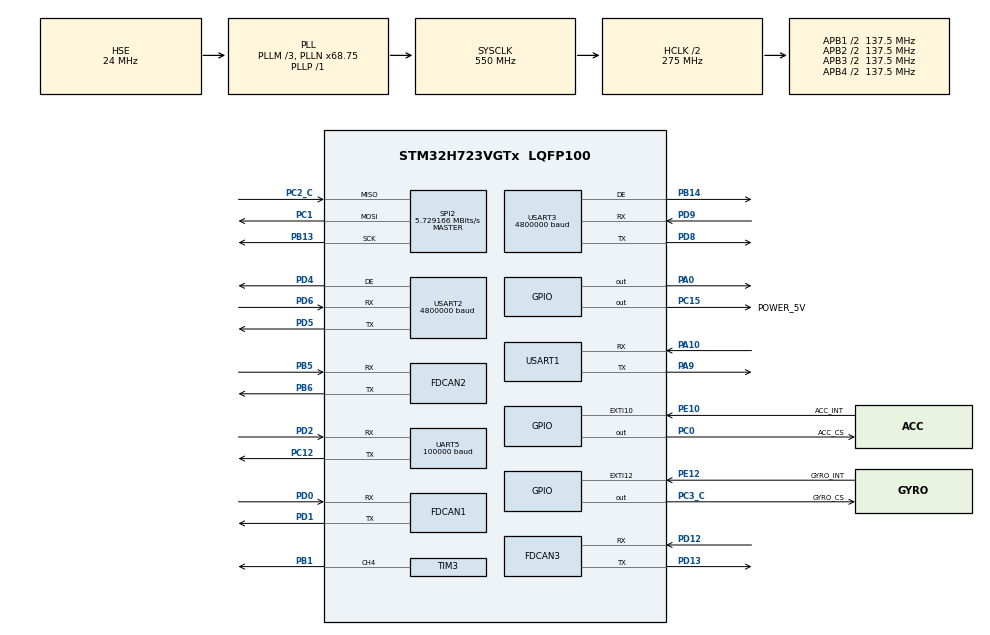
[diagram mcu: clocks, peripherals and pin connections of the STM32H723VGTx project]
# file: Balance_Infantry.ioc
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CORTEX_M7.AccessPermission-Cortex_Memory_Protection_Unit_Region0_Settings=MPU_REGION_FULL_ACCESS
CORTEX_M7.BaseAddress-Cortex_Memory_Protection_Unit_Region0_Settings=0x24000000
CORTEX_M7.CPU_DCache=Enabled
CORTEX_M7.CPU_ICache=Enabled
CORTEX_M7.Enable-Cortex_Memory_Protection_Unit_Region0_Settings=MPU_REGION_ENABLE
CORTEX_M7.IsBufferable-Cortex_Memory_Protection_Unit_Region0_Settings=MPU_ACCESS_BUFFERABLE
CORTEX_M7.IsCacheable-Cortex_Memory_Protection_Unit_Region0_Settings=MPU_ACCESS_CACHEABLE
CORTEX_M7.MPU_Control=MPU_PRIVILEGED_DEFAULT
CORTEX_M7.Size-Cortex_Memory_Protection_Unit_Region0_Settings=MPU_REGION_SIZE_512KB
CORTEX_M7.TypeExtField-Cortex_Memory_Protection_Unit_Region0_Settings=MPU_TEX_LEVEL0
Dma.Request0=SPI2_RX
Dma.Request1=SPI2_TX
Dma.Request2=USART2_RX
Dma.Request3=USART2_TX
Dma.Request4=USART3_RX
Dma.Request5=USART3_TX
Dma.Request6=UART5_RX
Dma.Request7=USART1_TX
Dma.Request8=USART1_RX
Dma.SPI2_RX.0.Direction=DMA_PERIPH_TO_MEMORY
Dma.SPI2_RX.0.EventEnable=DISABLE
Dma.SPI2_RX.0.FIFOMode=DMA_FIFOMODE_DISABLE
Dma.SPI2_RX.0.Instance=DMA1_Stream0
Dma.SPI2_RX.0.MemDataAlignment=DMA_MDATAALIGN_BYTE
Dma.SPI2_RX.0.MemInc=DMA_MINC_ENABLE
Dma.SPI2_RX.0.Mode=DMA_NORMAL
Dma.SPI2_RX.0.PeriphDataAlignment=DMA_PDATAALIGN_BYTE
Dma.SPI2_RX.0.PeriphInc=DMA_PINC_DISABLE
Dma.SPI2_RX.0.Polarity=HAL_DMAMUX_REQ_GEN_RISING
Dma.SPI2_RX.0.Priority=DMA_PRIORITY_VERY_HIGH
Dma.SPI2_RX.0.RequestNumber=1
Dma.SPI2_RX.0.SignalID=NONE
Dma.SPI2_RX.0.SyncEnable=DISABLE
Dma.SPI2_RX.0.SyncPolarity=HAL_DMAMUX_SYNC_NO_EVENT
Dma.SPI2_RX.0.SyncRequestNumber=1
Dma.SPI2_RX.0.SyncSignalID=NONE
Dma.SPI2_TX.1.Direction=DMA_MEMORY_TO_PERIPH
Dma.SPI2_TX.1.EventEnable=DISABLE
Dma.SPI2_TX.1.FIFOMode=DMA_FIFOMODE_DISABLE
Dma.SPI2_TX.1.Instance=DMA1_Stream1
Dma.SPI2_TX.1.MemDataAlignment=DMA_MDATAALIGN_BYTE
Dma.SPI2_TX.1.MemInc=DMA_MINC_ENABLE
Dma.SPI2_TX.1.Mode=DMA_NORMAL
Dma.SPI2_TX.1.PeriphDataAlignment=DMA_PDATAALIGN_BYTE
Dma.SPI2_TX.1.PeriphInc=DMA_PINC_DISABLE
Dma.SPI2_TX.1.Polarity=HAL_DMAMUX_REQ_GEN_RISING
Dma.SPI2_TX.1.Priority=DMA_PRIORITY_HIGH
Dma.SPI2_TX.1.RequestNumber=1
Dma.SPI2_TX.1.SignalID=NONE
Dma.SPI2_TX.1.SyncEnable=DISABLE
Dma.SPI2_TX.1.SyncPolarity=HAL_DMAMUX_SYNC_NO_EVENT
Dma.SPI2_TX.1.SyncRequestNumber=1
Dma.SPI2_TX.1.SyncSignalID=NONE
Dma.UART5_RX.6.Direction=DMA_PERIPH_TO_MEMORY
Dma.UART5_RX.6.EventEnable=DISABLE
Dma.UART5_RX.6.FIFOMode=DMA_FIFOMODE_DISABLE
Dma.UART5_RX.6.Instance=DMA1_Stream6
Dma.UART5_RX.6.MemDataAlignment=DMA_MDATAALIGN_BYTE
Dma.UART5_RX.6.MemInc=DMA_MINC_ENABLE
Dma.UART5_RX.6.Mode=DMA_NORMAL
Dma.UART5_RX.6.PeriphDataAlignment=DMA_PDATAALIGN_BYTE
Dma.UART5_RX.6.PeriphInc=DMA_PINC_DISABLE
Dma.UART5_RX.6.Polarity=HAL_DMAMUX_REQ_GEN_RISING
Dma.UART5_RX.6.Priority=DMA_PRIORITY_HIGH
Dma.UART5_RX.6.RequestNumber=1
Dma.UART5_RX.6.SignalID=NONE
Dma.UART5_RX.6.SyncEnable=DISABLE
Dma.UART5_RX.6.SyncPolarity=HAL_DMAMUX_SYNC_NO_EVENT
Dma.UART5_RX.6.SyncRequestNumber=1
Dma.UART5_RX.6.SyncSignalID=NONE
Dma.USART1_RX.8.Direction=DMA_PERIPH_TO_MEMORY
Dma.USART1_RX.8.EventEnable=DISABLE
Dma.USART1_RX.8.FIFOMode=DMA_FIFOMODE_DISABLE
Dma.USART1_RX.8.Instance=DMA2_Stream0
Dma.USART1_RX.8.MemDataAlignment=DMA_MDATAALIGN_BYTE
Dma.USART1_RX.8.MemInc=DMA_MINC_ENABLE
Dma.USART1_RX.8.Mode=DMA_NORMAL
Dma.USART1_RX.8.PeriphDataAlignment=DMA_PDATAALIGN_BYTE
Dma.USART1_RX.8.PeriphInc=DMA_PINC_DISABLE
Dma.USART1_RX.8.Polarity=HAL_DMAMUX_REQ_GEN_RISING
Dma.USART1_RX.8.Priority=DMA_PRIORITY_LOW
Dma.USART1_RX.8.RequestNumber=1
Dma.USART1_RX.8.SignalID=NONE
Dma.USART1_RX.8.SyncEnable=DISABLE
Dma.USART1_RX.8.SyncPolarity=HAL_DMAMUX_SYNC_NO_EVENT
Dma.USART1_RX.8.SyncRequestNumber=1
Dma.USART1_RX.8.SyncSignalID=NONE
Dma.USART1_TX.7.Direction=DMA_MEMORY_TO_PERIPH
Dma.USART1_TX.7.EventEnable=DISABLE
Dma.USART1_TX.7.FIFOMode=DMA_FIFOMODE_DISABLE
Dma.USART1_TX.7.Instance=DMA1_Stream7
Dma.USART1_TX.7.MemDataAlignment=DMA_MDATAALIGN_BYTE
Dma.USART1_TX.7.MemInc=DMA_MINC_ENABLE
Dma.USART1_TX.7.Mode=DMA_NORMAL
Dma.USART1_TX.7.PeriphDataAlignment=DMA_PDATAALIGN_BYTE
Dma.USART1_TX.7.PeriphInc=DMA_PINC_DISABLE
Dma.USART1_TX.7.Polarity=HAL_DMAMUX_REQ_GEN_RISING
Dma.USART1_TX.7.Priority=DMA_PRIORITY_LOW
Dma.USART1_TX.7.RequestNumber=1
Dma.USART1_TX.7.SignalID=NONE
Dma.USART1_TX.7.SyncEnable=DISABLE
Dma.USART1_TX.7.SyncPolarity=HAL_DMAMUX_SYNC_NO_EVENT
Dma.USART1_TX.7.SyncRequestNumber=1
Dma.USART1_TX.7.SyncSignalID=NONE
Dma.USART2_RX.2.Direction=DMA_PERIPH_TO_MEMORY
Dma.USART2_RX.2.EventEnable=DISABLE
Dma.USART2_RX.2.FIFOMode=DMA_FIFOMODE_DISABLE
Dma.USART2_RX.2.Instance=DMA1_Stream2
Dma.USART2_RX.2.MemDataAlignment=DMA_MDATAALIGN_BYTE
Dma.USART2_RX.2.MemInc=DMA_MINC_ENABLE
Dma.USART2_RX.2.Mode=DMA_NORMAL
Dma.USART2_RX.2.PeriphDataAlignment=DMA_PDATAALIGN_BYTE
Dma.USART2_RX.2.PeriphInc=DMA_PINC_DISABLE
Dma.USART2_RX.2.Polarity=HAL_DMAMUX_REQ_GEN_RISING
Dma.USART2_RX.2.Priority=DMA_PRIORITY_LOW
Dma.USART2_RX.2.RequestNumber=1
Dma.USART2_RX.2.SignalID=NONE
Dma.USART2_RX.2.SyncEnable=DISABLE
Dma.USART2_RX.2.SyncPolarity=HAL_DMAMUX_SYNC_NO_EVENT
Dma.USART2_RX.2.SyncRequestNumber=1
Dma.USART2_RX.2.SyncSignalID=NONE
Dma.USART2_TX.3.Direction=DMA_MEMORY_TO_PERIPH
Dma.USART2_TX.3.EventEnable=DISABLE
Dma.USART2_TX.3.FIFOMode=DMA_FIFOMODE_DISABLE
Dma.USART2_TX.3.Instance=DMA1_Stream3
Dma.USART2_TX.3.MemDataAlignment=DMA_MDATAALIGN_BYTE
Dma.USART2_TX.3.MemInc=DMA_MINC_ENABLE
Dma.USART2_TX.3.Mode=DMA_NORMAL
Dma.USART2_TX.3.PeriphDataAlignment=DMA_PDATAALIGN_BYTE
Dma.USART2_TX.3.PeriphInc=DMA_PINC_DISABLE
Dma.USART2_TX.3.Polarity=HAL_DMAMUX_REQ_GEN_RISING
Dma.USART2_TX.3.Priority=DMA_PRIORITY_LOW
Dma.USART2_TX.3.RequestNumber=1
Dma.USART2_TX.3.SignalID=NONE
Dma.USART2_TX.3.SyncEnable=DISABLE
Dma.USART2_TX.3.SyncPolarity=HAL_DMAMUX_SYNC_NO_EVENT
Dma.USART2_TX.3.SyncRequestNumber=1
Dma.USART2_TX.3.SyncSignalID=NONE
Dma.USART3_RX.4.Direction=DMA_PERIPH_TO_MEMORY
Dma.USART3_RX.4.EventEnable=DISABLE
Dma.USART3_RX.4.FIFOMode=DMA_FIFOMODE_DISABLE
Dma.USART3_RX.4.Instance=DMA1_Stream4
Dma.USART3_RX.4.MemDataAlignment=DMA_MDATAALIGN_BYTE
Dma.USART3_RX.4.MemInc=DMA_MINC_ENABLE
Dma.USART3_RX.4.Mode=DMA_NORMAL
Dma.USART3_RX.4.PeriphDataAlignment=DMA_PDATAALIGN_BYTE
Dma.USART3_RX.4.PeriphInc=DMA_PINC_DISABLE
Dma.USART3_RX.4.Polarity=HAL_DMAMUX_REQ_GEN_RISING
Dma.USART3_RX.4.Priority=DMA_PRIORITY_LOW
Dma.USART3_RX.4.RequestNumber=1
Dma.USART3_RX.4.SignalID=NONE
Dma.USART3_RX.4.SyncEnable=DISABLE
Dma.USART3_RX.4.SyncPolarity=HAL_DMAMUX_SYNC_NO_EVENT
Dma.USART3_RX.4.SyncRequestNumber=1
Dma.USART3_RX.4.SyncSignalID=NONE
Dma.USART3_TX.5.Direction=DMA_MEMORY_TO_PERIPH
Dma.USART3_TX.5.EventEnable=DISABLE
Dma.USART3_TX.5.FIFOMode=DMA_FIFOMODE_DISABLE
Dma.USART3_TX.5.Instance=DMA1_Stream5
Dma.USART3_TX.5.MemDataAlignment=DMA_MDATAALIGN_BYTE
Dma.USART3_TX.5.MemInc=DMA_MINC_ENABLE
Dma.USART3_TX.5.Mode=DMA_NORMAL
Dma.USART3_TX.5.PeriphDataAlignment=DMA_PDATAALIGN_BYTE
Dma.USART3_TX.5.PeriphInc=DMA_PINC_DISABLE
Dma.USART3_TX.5.Polarity=HAL_DMAMUX_REQ_GEN_RISING
Dma.USART3_TX.5.Priority=DMA_PRIORITY_LOW
Dma.USART3_TX.5.RequestNumber=1
Dma.USART3_TX.5.SignalID=NONE
Dma.USART3_TX.5.SyncEnable=DISABLE
Dma.USART3_TX.5.SyncPolarity=HAL_DMAMUX_SYNC_NO_EVENT
Dma.USART3_TX.5.SyncRequestNumber=1
Dma.USART3_TX.5.SyncSignalID=NONE
FDCAN1.CalculateBaudRateNominal=1000000
FDCAN1.CalculateTimeBitNominal=1000
FDCAN1.CalculateTimeQuantumNominal=83.33333333333333
FDCAN1.NominalPrescaler=8
FDCAN1.NominalTimeSeg1=4
FDCAN1.NominalTimeSeg2=7
FDCAN1.RxFifo0ElmtsNbr=32
FDCAN1.TxFifoQueueElmtsNbr=16
FDCAN2.CalculateBaudRateNominal=1000000
FDCAN2.CalculateTimeBitNominal=1000
FDCAN2.CalculateTimeQuantumNominal=83.33333333333333
FDCAN2.NominalPrescaler=8
FDCAN2.NominalTimeSeg1=4
FDCAN2.NominalTimeSeg2=7
FDCAN2.RxFifo0ElmtsNbr=32
FDCAN2.TxFifoQueueElmtsNbr=16
FDCAN3.CalculateBaudRateNominal=1000000
FDCAN3.CalculateTimeBitNominal=1000
FDCAN3.CalculateTimeQuantumNominal=83.33333333333333
FDCAN3.NominalPrescaler=8
FDCAN3.NominalTimeSeg1=4
FDCAN3.NominalTimeSeg2=7
FDCAN3.RxFifo0ElmtsNbr=32
FDCAN3.TxFifoQueueElmtsNbr=16
FREERTOS.BinarySemaphores01=imuBinarySem01,Static,imuBinarySemControlBlock
FREERTOS.INCLUDE_vTaskDelayUntil=1
FREERTOS.MEMORY_ALLOCATION=2
FREERTOS.Tasks01=defaultTask,0,128,StartDefaultTask,Default,NULL,Static,defaultTaskBuffer,defaultTaskControlBlock
FREERTOS.configTOTAL_HEAP_SIZE=30720
Mcu.Family=STM32H7
Mcu.Name=STM32H723VGTx
Mcu.Package=LQFP100
NVIC.DMA1_Stream0_IRQn=true\:6\:0\:true\:false\:true\:true\:false\:true\:true
NVIC.DMA1_Stream1_IRQn=true\:6\:0\:true\:false\:true\:true\:false\:true\:true
NVIC.DMA1_Stream2_IRQn=true\:5\:0\:false\:false\:true\:true\:false\:true\:true
NVIC.DMA1_Stream3_IRQn=true\:5\:0\:false\:false\:true\:true\:false\:true\:true
NVIC.DMA1_Stream4_IRQn=true\:5\:0\:false\:false\:true\:true\:false\:true\:true
NVIC.DMA1_Stream5_IRQn=true\:5\:0\:false\:false\:true\:true\:false\:true\:true
NVIC.DMA1_Stream6_IRQn=true\:5\:0\:false\:false\:true\:true\:false\:true\:true
NVIC.DMA1_Stream7_IRQn=true\:5\:0\:false\:false\:true\:true\:false\:true\:true
NVIC.DMA2_Stream0_IRQn=true\:5\:0\:false\:false\:true\:true\:false\:true\:true
NVIC.EXTI15_10_IRQn=true\:6\:0\:true\:false\:true\:true\:true\:true\:true
NVIC.FDCAN1_IT0_IRQn=true\:5\:0\:false\:false\:true\:true\:true\:true\:true
NVIC.FDCAN1_IT1_IRQn=true\:5\:0\:false\:false\:true\:true\:true\:true\:true
NVIC.FDCAN2_IT0_IRQn=true\:5\:0\:false\:false\:true\:true\:true\:true\:true
NVIC.FDCAN2_IT1_IRQn=true\:5\:0\:false\:false\:true\:true\:true\:true\:true
NVIC.PriorityGroup=NVIC_PRIORITYGROUP_4
NVIC.SPI2_IRQn=true\:6\:0\:true\:false\:true\:true\:false\:true\:true
NVIC.TIM1_UP_IRQn=true\:15\:0\:false\:false\:true\:false\:false\:true\:true
NVIC.TimeBase=TIM1_UP_IRQn
NVIC.TimeBaseIP=TIM1
NVIC.UART5_IRQn=true\:5\:0\:false\:false\:true\:true\:true\:true\:true
NVIC.USART1_IRQn=true\:5\:0\:false\:false\:true\:true\:true\:true\:true
NVIC.USART2_IRQn=true\:5\:0\:false\:false\:true\:true\:true\:true\:true
NVIC.USART3_IRQn=true\:5\:0\:false\:false\:true\:true\:true\:true\:true
PA0.GPIO_Speed=GPIO_SPEED_FREQ_VERY_HIGH
PA0.Signal=GPIO_Output
PA10.Mode=Asynchronous
PA10.Signal=USART1_RX
PA13(JTMS/SWDIO).Mode=Serial_Wire
PA13(JTMS/SWDIO).Signal=DEBUG_JTMS-SWDIO
PA14(JTCK/SWCLK).Mode=Serial_Wire
PA14(JTCK/SWCLK).Signal=DEBUG_JTCK-SWCLK
PA9.Mode=Asynchronous
PA9.Signal=USART1_TX
PB1.Signal=S_TIM3_CH4
PB13.GPIO_Speed=GPIO_SPEED_FREQ_VERY_HIGH
PB13.Mode=Full_Duplex_Master
PB13.Signal=SPI2_SCK
PB14.GPIO_Speed=GPIO_SPEED_FREQ_VERY_HIGH
PB14.Mode=Hardware Flow Control (RS485)
PB14.Signal=USART3_DE
PB5.Mode=FDCAN_Activate
PB5.Signal=FDCAN2_RX
PB6.Mode=FDCAN_Activate
PB6.Signal=FDCAN2_TX
PC0.GPIO_Label=ACC_CS
PC0.GPIO_Speed=GPIO_SPEED_FREQ_VERY_HIGH
PC0.PinState=GPIO_PIN_SET
PC0.Signal=GPIO_Output
PC1.GPIO_Speed=GPIO_SPEED_FREQ_VERY_HIGH
PC1.Mode=Full_Duplex_Master
PC1.Signal=SPI2_MOSI
PC12.GPIO_Speed=GPIO_SPEED_FREQ_VERY_HIGH
PC12.Mode=Asynchronous
PC12.Signal=UART5_TX
PC15-OSC32_OUT.GPIO_Label=POWER_5V
PC15-OSC32_OUT.PinState=GPIO_PIN_SET
PC15-OSC32_OUT.Signal=GPIO_Output
PC2_C.GPIO_Speed=GPIO_SPEED_FREQ_VERY_HIGH
PC2_C.Mode=Full_Duplex_Master
PC2_C.Signal=SPI2_MISO
PC3_C.GPIO_Label=GYRO_CS
PC3_C.GPIO_Speed=GPIO_SPEED_FREQ_VERY_HIGH
PC3_C.PinState=GPIO_PIN_SET
PC3_C.Signal=GPIO_Output
PD0.Mode=FDCAN_Activate
PD0.Signal=FDCAN1_RX
PD1.Mode=FDCAN_Activate
PD1.Signal=FDCAN1_TX
PD12.Mode=FDCAN_Activate
PD12.Signal=FDCAN3_RX
PD13.Mode=FDCAN_Activate
PD13.Signal=FDCAN3_TX
PD2.GPIO_Speed=GPIO_SPEED_FREQ_VERY_HIGH
PD2.Mode=Asynchronous
PD2.Signal=UART5_RX
PD4.GPIO_Speed=GPIO_SPEED_FREQ_VERY_HIGH
PD4.Mode=Hardware Flow Control (RS485)
PD4.Signal=USART2_DE
PD5.GPIO_Speed=GPIO_SPEED_FREQ_VERY_HIGH
PD5.Mode=Asynchronous
PD5.Signal=USART2_TX
PD6.GPIO_Speed=GPIO_SPEED_FREQ_VERY_HIGH
PD6.Mode=Asynchronous
PD6.Signal=USART2_RX
PD8.GPIO_Speed=GPIO_SPEED_FREQ_VERY_HIGH
PD8.Mode=Asynchronous
PD8.Signal=USART3_TX
PD9.GPIO_Speed=GPIO_SPEED_FREQ_VERY_HIGH
PD9.Mode=Asynchronous
PD9.Signal=USART3_RX
PE10.GPIO_Label=ACC_INT
PE10.Signal=GPXTI10
PE12.GPIO_Label=GYRO_INT
PE12.Signal=GPXTI12
PH0-OSC_IN.Mode=HSE-External-Oscillator
PH0-OSC_IN.Signal=RCC_OSC_IN
PH1-OSC_OUT.Mode=HSE-External-Oscillator
PH1-OSC_OUT.Signal=RCC_OSC_OUT
ProjectManager.HeapSize=0x200
ProjectManager.StackSize=0x800
ProjectManager.TargetToolchain=MDK-ARM V5.27
RCC.ADCFreq_Value=96000000
RCC.APB1Freq_Value=137500000
RCC.APB2Freq_Value=137500000
RCC.APB3Freq_Value=137500000
RCC.APB4Freq_Value=137500000
RCC.CortexFreq_Value=550000000
RCC.D1PPRE=RCC_APB3_DIV2
RCC.D2PPRE1=RCC_APB1_DIV2
RCC.D2PPRE2=RCC_APB2_DIV2
RCC.D3PPRE=RCC_APB4_DIV2
RCC.DIVM1=3
RCC.DIVM2=2
RCC.DIVN1=68
RCC.DIVN2=16
RCC.DIVP1=1
RCC.DIVQ1=3
RCC.FDCANCLockSelection=RCC_FDCANCLKSOURCE_PLL2
RCC.HCLKFreq_Value=275000000
RCC.HPRE=RCC_HCLK_DIV2
RCC.HSE_VALUE=24000000
RCC.PLL2FRACN=0
RCC.PLL3FRACN=0
RCC.PLLFRACN=6144
RCC.PLLSourceVirtual=RCC_PLLSOURCE_HSE
RCC.SYSCLKFreq_VALUE=550000000
RCC.SYSCLKSource=RCC_SYSCLKSOURCE_PLLCLK
RCC.USBFreq_Value=183333333.33333334
SH.S_TIM3_CH4.0=TIM3_CH4,PWM Generation4 CH4
SPI2.BaudRatePrescaler=SPI_BAUDRATEPRESCALER_32
SPI2.CLKPhase=SPI_PHASE_2EDGE
SPI2.CLKPolarity=SPI_POLARITY_HIGH
SPI2.CalculateBaudRate=5.729166 MBits/s
SPI2.DataSize=SPI_DATASIZE_8BIT
SPI2.Direction=SPI_DIRECTION_2LINES
SPI2.Mode=SPI_MODE_MASTER
SPI2.VirtualType=VM_MASTER
TIM3.AutoReloadPreload=TIM_AUTORELOAD_PRELOAD_ENABLE
TIM3.Channel-PWM\ Generation4\ CH4=TIM_CHANNEL_4
TIM3.Period=10000-1
TIM3.Prescaler=24-1
UART5.BaudRate=100000
UART5.DMADisableonRxErrorParam=UART_ADVFEATURE_DMA_DISABLEONRXERROR
UART5.OverrunDisableParam=UART_ADVFEATURE_OVERRUN_DISABLE
UART5.Parity=PARITY_EVEN
UART5.WordLength=WORDLENGTH_9B
USART1.DMADisableonRxErrorParam=ADVFEATURE_DMA_DISABLEONRXERROR
USART1.OverrunDisableParam=ADVFEATURE_OVERRUN_DISABLE
USART1.VirtualMode-Asynchronous=VM_ASYNC
USART2.BaudRate=4800000
USART2.DMADisableonRxErrorParam=ADVFEATURE_DMA_DISABLEONRXERROR
USART2.OverSampling=UART_OVERSAMPLING_8
USART2.OverrunDisableParam=ADVFEATURE_OVERRUN_DISABLE
USART2.VirtualMode-Asynchronous=VM_ASYNC
USART2.VirtualMode-Hardware\ Flow\ Control\ (RS485)=VM_ASYNC
USART3.BaudRate=4800000
USART3.DMADisableonRxErrorParam=ADVFEATURE_DMA_DISABLEONRXERROR
USART3.OverSampling=UART_OVERSAMPLING_8
USART3.OverrunDisableParam=ADVFEATURE_OVERRUN_DISABLE
USART3.VirtualMode-Asynchronous=VM_ASYNC
USART3.VirtualMode-Hardware\ Flow\ Control\ (RS485)=VM_ASYNC
VP_FREERTOS_VS_CMSIS_V1.Mode=CMSIS_V1
VP_SYS_VS_tim1.Mode=TIM1
board=custom

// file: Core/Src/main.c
/* USER CODE BEGIN Header */
/**
  ******************************************************************************
  * @file           : main.c
  * @brief          : Main program body
  ******************************************************************************
  * @attention
  *
  * Copyright (c) 2024 STMicroelectronics.
  * All rights reserved.
  *
  * This software is licensed under terms that can be found in the LICENSE file
  * in the root directory of this software component.
  * If no LICENSE file comes with this software, it is provided AS-IS.
  *
  ******************************************************************************
  */
/* USER CODE END Header */
#include "main.h"
#include "cmsis_os.h"
#include "dma.h"
#include "fdcan.h"
#include "spi.h"
#include "tim.h"
#include "usart.h"
#include "gpio.h"

/* USER CODE BEGIN Includes */
#include "A1Motor_drv.h"
#include "bsp_can.h"
#include "BMI088driver.h"
#include "kalman_filter.h"
#include "mahony_filter.h"
#include "bsp_dwt.h"
#include "BMI088Middleware.h"
/* USER CODE END Includes */

void SystemClock_Config(void);
void PeriphCommonClock_Config(void);
static void MPU_Config(void);
void MX_FREERTOS_Init(void);

int main(void)
{

  /* MPU Configuration--------------------------------------------------------*/
  MPU_Config();
/* Enable the CPU Cache */

  /* Enable I-Cache---------------------------------------------------------*/
  SCB_EnableICache();

  /* Enable D-Cache---------------------------------------------------------*/
  SCB_EnableDCache();

  /* MCU Configuration--------------------------------------------------------*/

  /* Reset of all peripherals, Initializes the Flash interface and the Systick. */
  HAL_Init();

  /* Configure the system clock */
  SystemClock_Config();

/* Configure the peripherals common clocks */
  PeriphCommonClock_Config();

  /* Initialize all configured peripherals */
  MX_GPIO_Init();
  MX_DMA_Init();
  MX_SPI2_Init();
  MX_TIM3_Init();
  MX_USART2_UART_Init();
  MX_USART3_UART_Init();
  MX_FDCAN1_Init();
  MX_UART5_Init();
  MX_USART1_UART_Init();
  MX_FDCAN2_Init();
  MX_FDCAN3_Init();
  /* USER CODE BEGIN 2 */
  FDCAN1_Config();

  __HAL_UART_ENABLE_IT(&huart2, UART_IT_IDLE);  //开启空闲中断
  HAL_UART_Receive_DMA(&huart2,Usart2Type.RX_pData,RECEIVE_SIZE);//开启串口DMA接收
  __HAL_UART_ENABLE_IT(&huart3, UART_IT_IDLE);  //开启空闲中断
  HAL_UART_Receive_DMA(&huart3,Usart3Type.RX_pData,RECEIVE_SIZE);//开启串口DMA接收

//  remote_control_init();

	DWT_Init(480);
  while (BMI088_init(&hspi2, 0) != BMI088_NO_ERROR)
	{
	  ;
	}
  /* USER CODE END 2 */

  /* Call init function for freertos objects (in freertos.c) */
  MX_FREERTOS_Init();

  /* Start scheduler */
  osKernelStart();

  /* We should never get here as control is now taken by the scheduler */
  /* Infinite loop */
  while (1)
  {

  }
}

void SystemClock_Config(void)
{
  RCC_OscInitTypeDef RCC_OscInitStruct = {0};
  RCC_ClkInitTypeDef RCC_ClkInitStruct = {0};

  /** Supply configuration update enable
  */
  HAL_PWREx_ConfigSupply(PWR_LDO_SUPPLY);

  /** Configure the main internal regulator output voltage
  */
  __HAL_PWR_VOLTAGESCALING_CONFIG(PWR_REGULATOR_VOLTAGE_SCALE0);

  while(!__HAL_PWR_GET_FLAG(PWR_FLAG_VOSRDY)) {}

  /** Initializes the RCC Oscillators according to the specified parameters
  * in the RCC_OscInitTypeDef structure.
  */
  RCC_OscInitStruct.OscillatorType = RCC_OSCILLATORTYPE_HSE;
  RCC_OscInitStruct.HSEState = RCC_HSE_ON;
  RCC_OscInitStruct.PLL.PLLState = RCC_PLL_ON;
  RCC_OscInitStruct.PLL.PLLSource = RCC_PLLSOURCE_HSE;
  RCC_OscInitStruct.PLL.PLLM = 3;
  RCC_OscInitStruct.PLL.PLLN = 68;
  RCC_OscInitStruct.PLL.PLLP = 1;
  RCC_OscInitStruct.PLL.PLLQ = 3;
  RCC_OscInitStruct.PLL.PLLR = 2;
  RCC_OscInitStruct.PLL.PLLRGE = RCC_PLL1VCIRANGE_3;
  RCC_OscInitStruct.PLL.PLLVCOSEL = RCC_PLL1VCOWIDE;
  RCC_OscInitStruct.PLL.PLLFRACN = 6144;
  if (HAL_RCC_OscConfig(&RCC_OscInitStruct) != HAL_OK)
  {
    Error_Handler();
  }

  /** Initializes the CPU, AHB and APB buses clocks
  */
  RCC_ClkInitStruct.ClockType = RCC_CLOCKTYPE_HCLK|RCC_CLOCKTYPE_SYSCLK
                              |RCC_CLOCKTYPE_PCLK1|RCC_CLOCKTYPE_PCLK2
                              |RCC_CLOCKTYPE_D3PCLK1|RCC_CLOCKTYPE_D1PCLK1;
  RCC_ClkInitStruct.SYSCLKSource = RCC_SYSCLKSOURCE_PLLCLK;
  RCC_ClkInitStruct.SYSCLKDivider = RCC_SYSCLK_DIV1;
  RCC_ClkInitStruct.AHBCLKDivider = RCC_HCLK_DIV2;
  RCC_ClkInitStruct.APB3CLKDivider = RCC_APB3_DIV2;
  RCC_ClkInitStruct.APB1CLKDivider = RCC_APB1_DIV2;
  RCC_ClkInitStruct.APB2CLKDivider = RCC_APB2_DIV2;
  RCC_ClkInitStruct.APB4CLKDivider = RCC_APB4_DIV2;

  if (HAL_RCC_ClockConfig(&RCC_ClkInitStruct, FLASH_LATENCY_3) != HAL_OK)
  {
    Error_Handler();
  }
}

void PeriphCommonClock_Config(void)
{
  RCC_PeriphCLKInitTypeDef PeriphClkInitStruct = {0};

  /** Initializes the peripherals clock
  */
  PeriphClkInitStruct.PeriphClockSelection = RCC_PERIPHCLK_FDCAN;
  PeriphClkInitStruct.PLL2.PLL2M = 2;
  PeriphClkInitStruct.PLL2.PLL2N = 16;
  PeriphClkInitStruct.PLL2.PLL2P = 2;
  PeriphClkInitStruct.PLL2.PLL2Q = 2;
  PeriphClkInitStruct.PLL2.PLL2R = 2;
  PeriphClkInitStruct.PLL2.PLL2RGE = RCC_PLL2VCIRANGE_3;
  PeriphClkInitStruct.PLL2.PLL2VCOSEL = RCC_PLL2VCOWIDE;
  PeriphClkInitStruct.PLL2.PLL2FRACN = 0;
  PeriphClkInitStruct.FdcanClockSelection = RCC_FDCANCLKSOURCE_PLL2;
  if (HAL_RCCEx_PeriphCLKConfig(&PeriphClkInitStruct) != HAL_OK)
  {
    Error_Handler();
  }
}

/* MPU Configuration */

void MPU_Config(void)
{
  MPU_Region_InitTypeDef MPU_InitStruct = {0};

  /* Disables the MPU */
  HAL_MPU_Disable();

  /** Initializes and configures the Region and the memory to be protected
  */
  MPU_InitStruct.Enable = MPU_REGION_ENABLE;
  MPU_InitStruct.Number = MPU_REGION_NUMBER0;
  MPU_InitStruct.BaseAddress = 0x24000000;
  MPU_InitStruct.Size = MPU_REGION_SIZE_512KB;
  MPU_InitStruct.SubRegionDisable = 0x0;
  MPU_InitStruct.TypeExtField = MPU_TEX_LEVEL0;
  MPU_InitStruct.AccessPermission = MPU_REGION_FULL_ACCESS;
  MPU_InitStruct.DisableExec = MPU_INSTRUCTION_ACCESS_ENABLE;
  MPU_InitStruct.IsShareable = MPU_ACCESS_NOT_SHAREABLE;
  MPU_InitStruct.IsCacheable = MPU_ACCESS_CACHEABLE;
  MPU_InitStruct.IsBufferable = MPU_ACCESS_BUFFERABLE;

  HAL_MPU_ConfigRegion(&MPU_InitStruct);
  /* Enables the MPU */
  HAL_MPU_Enable(MPU_PRIVILEGED_DEFAULT);

}

void HAL_TIM_PeriodElapsedCallback(TIM_HandleTypeDef *htim)
{
  if (htim->Instance == TIM1) {
    HAL_IncTick();
  }
}

void Error_Handler(void)
{
  __disable_irq();
  while (1)
  {
  }
}

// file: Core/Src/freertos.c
/* USER CODE BEGIN Header */
/**
  ******************************************************************************
  * File Name          : freertos.c
  * Description        : Code for freertos applications
  ******************************************************************************
  * @attention
  *
  * Copyright (c) 2024 STMicroelectronics.
  * All rights reserved.
  *
  * This software is licensed under terms that can be found in the LICENSE file
  * in the root directory of this software component.
  * If no LICENSE file comes with this software, it is provided AS-IS.
  *
  ******************************************************************************
  */
/* USER CODE END Header */

#include "FreeRTOS.h"
#include "task.h"
#include "main.h"
#include "cmsis_os.h"

/* USER CODE BEGIN Includes */
#include "insTask.h"
//#include "RM_remote.h"
/* USER CODE END Includes */

/* USER CODE BEGIN Variables */
osThreadId motorMoveCtrlHandle;
osThreadId insCalHandle;
osThreadId chassisRctrlHandle;
osThreadId chassisLctrlHandle;
osThreadId remoteCtrlHandle;
osThreadId observeCtrlHandle;
/* USER CODE END Variables */
osThreadId defaultTaskHandle;
uint32_t defaultTaskBuffer[ 128 ];
osStaticThreadDef_t defaultTaskControlBlock;
osSemaphoreId imuBinarySem01Handle;
osStaticSemaphoreDef_t imuBinarySemControlBlock;

/* USER CODE BEGIN FunctionPrototypes */
void motorMoveTask(void const * argument);
void insTask(void const * argument);
void chassisRtask(void const * argument);
void chassisLtask(void const * argument);
void remoteTask(void const * argument);
void observeTask(void const * argument);
/* USER CODE END FunctionPrototypes */

void StartDefaultTask(void const * argument);

void MX_FREERTOS_Init(void); /* (MISRA C 2004 rule 8.1) */

/* GetIdleTaskMemory prototype (linked to static allocation support) */
void vApplicationGetIdleTaskMemory( StaticTask_t **ppxIdleTaskTCBBuffer, StackType_t **ppxIdleTaskStackBuffer, uint32_t *pulIdleTaskStackSize );

/* USER CODE BEGIN GET_IDLE_TASK_MEMORY */
static StaticTask_t xIdleTaskTCBBuffer;
static StackType_t xIdleStack[configMINIMAL_STACK_SIZE];

void vApplicationGetIdleTaskMemory( StaticTask_t **ppxIdleTaskTCBBuffer, StackType_t **ppxIdleTaskStackBuffer, uint32_t *pulIdleTaskStackSize )
{
  *ppxIdleTaskTCBBuffer = &xIdleTaskTCBBuffer;
  *ppxIdleTaskStackBuffer = &xIdleStack[0];
  *pulIdleTaskStackSize = configMINIMAL_STACK_SIZE;
  /* place for user code */
}
/* USER CODE END GET_IDLE_TASK_MEMORY */

void MX_FREERTOS_Init(void) {

  /* Create the semaphores(s) */
  /* definition and creation of imuBinarySem01 */
  osSemaphoreStaticDef(imuBinarySem01, &imuBinarySemControlBlock);
  imuBinarySem01Handle = osSemaphoreCreate(osSemaphore(imuBinarySem01), 1);

  /* Create the thread(s) */
  /* definition and creation of defaultTask */
  osThreadStaticDef(defaultTask, StartDefaultTask, osPriorityNormal, 0, 128, defaultTaskBuffer, &defaultTaskControlBlock);
  defaultTaskHandle = osThreadCreate(osThread(defaultTask), NULL);

  /* USER CODE BEGIN RTOS_THREADS */
  /* add threads, ... */
  osThreadDef(motorMoveCtrl, motorMoveTask, osPriorityHigh, 0, 512);
  motorMoveCtrlHandle = osThreadCreate(osThread(motorMoveCtrl), NULL);
  osThreadDef(insCal, insTask, osPriorityRealtime, 0, 512);
  insCalHandle = osThreadCreate(osThread(insCal), NULL);
  osThreadDef(chassisRctrl, chassisRtask, osPriorityRealtime, 0, 1024);
  chassisRctrlHandle = osThreadCreate(osThread(chassisRctrl), NULL);
  osThreadDef(chassisLctrl, chassisLtask, osPriorityRealtime, 0, 1024);
  chassisLctrlHandle = osThreadCreate(osThread(chassisLctrl), NULL);
  osThreadDef(remoteCtrl, remoteTask, osPriorityHigh, 0, 512);
  remoteCtrlHandle = osThreadCreate(osThread(remoteCtrl), NULL);
  osThreadDef(observeCtrl, observeTask, osPriorityHigh, 0, 512);
  observeCtrlHandle = osThreadCreate(osThread(observeCtrl), NULL);
  /* USER CODE END RTOS_THREADS */

}

void StartDefaultTask(void const * argument)
{
  for(;;)
  {
    osDelay(1);
  }
}

/* USER CODE BEGIN Application */
__weak void motorMoveTask(void const * argument)
{
  for(;;)
  {
    osDelay(1);
  }
}

__weak void insTask(void const * argument)
{
  for(;;)
  {
    INS_Task();
  }
}

__weak void chassisRtask(void const * argument)
{
  for(;;)
  {
    osDelay(1);
  }
}

__weak void chassisLtask(void const * argument)
{
  for(;;)
  {
    osDelay(1);
  }
}

__weak void remoteTask(void const * argument)
{
  for(;;)
  {
    osDelay(1);
  }
}

__weak void observeTask(void const * argument)
{
  for(;;)
  {
    osDelay(1);
  }
}
/* USER CODE END Application */
